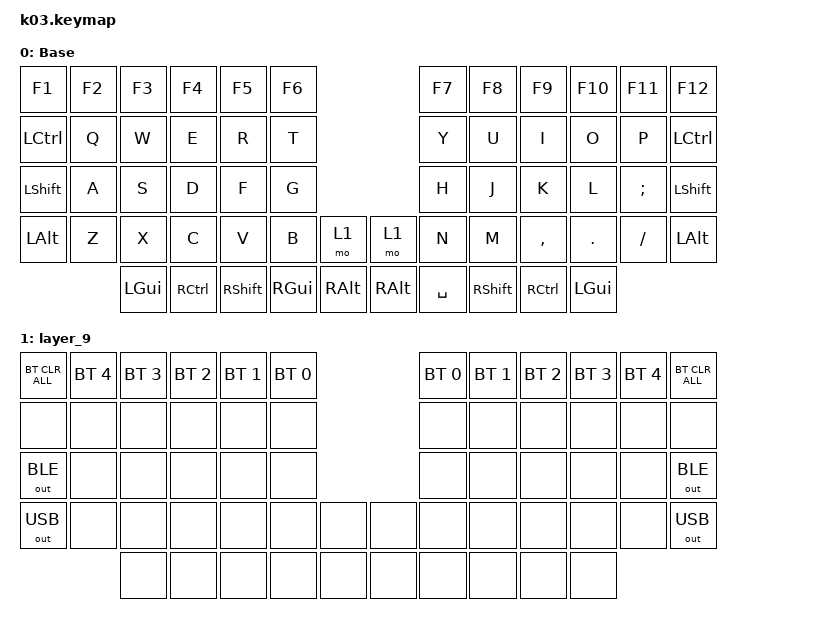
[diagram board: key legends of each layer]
#include "keys_ru.h"
#include <behaviors.dtsi>
#include <dt-bindings/zmk/bt.h>
#include <dt-bindings/zmk/keys.h>
#include <dt-bindings/zmk/outputs.h>

/ {
    keymap {
        compatible = "zmk,keymap";

        base {
            bindings = <
&kp F1      &kp F2  &kp F3    &kp F4     &kp F5     &kp F6                          &kp F7     &kp F8     &kp F9     &kp F10   &kp F11   &kp F12
&kp LCTRL   &kp Q   &kp W     &kp E      &kp R      &kp T                           &kp Y      &kp U      &kp I      &kp O     &kp P     &kp LCTRL
&kp LSHIFT  &kp A   &kp S     &kp D      &kp F      &kp G                           &kp H      &kp J      &kp K      &kp L     &kp SEMI  &kp LSHIFT
&kp LALT    &kp Z   &kp X     &kp C      &kp V      &kp B     &mo 1       &mo 1     &kp N      &kp M      &kp COMMA  &kp DOT   &kp FSLH  &kp LALT
                    &kp LGUI  &kp RCTRL  &kp RSHFT  &kp RGUI  &kp RALT    &kp RALT  &kp SPACE  &kp RSHFT  &kp RCTRL  &kp LGUI
            >;

            display-name = "Base";
        };

        layer_9 {
            bindings = <
&bt BT_CLR_ALL  &bt BT_SEL 4  &bt BT_SEL 3  &bt BT_SEL 2  &bt BT_SEL 1  &bt BT_SEL 0                  &bt BT_SEL 0  &bt BT_SEL 1  &bt BT_SEL 2  &bt BT_SEL 3  &bt BT_SEL 4  &bt BT_CLR_ALL
&none           &none         &none         &none         &none         &none                         &none         &none         &none         &none         &none         &none
&out OUT_BLE    &none         &none         &none         &none         &none                         &none         &none         &none         &none         &none         &out OUT_BLE
&out OUT_USB    &none         &none         &none         &none         &none         &none    &none  &none         &none         &none         &none         &none         &out OUT_USB
                              &none         &none         &none         &none         &none    &none  &none         &none         &none         &none
            >;
        };
    };
};
